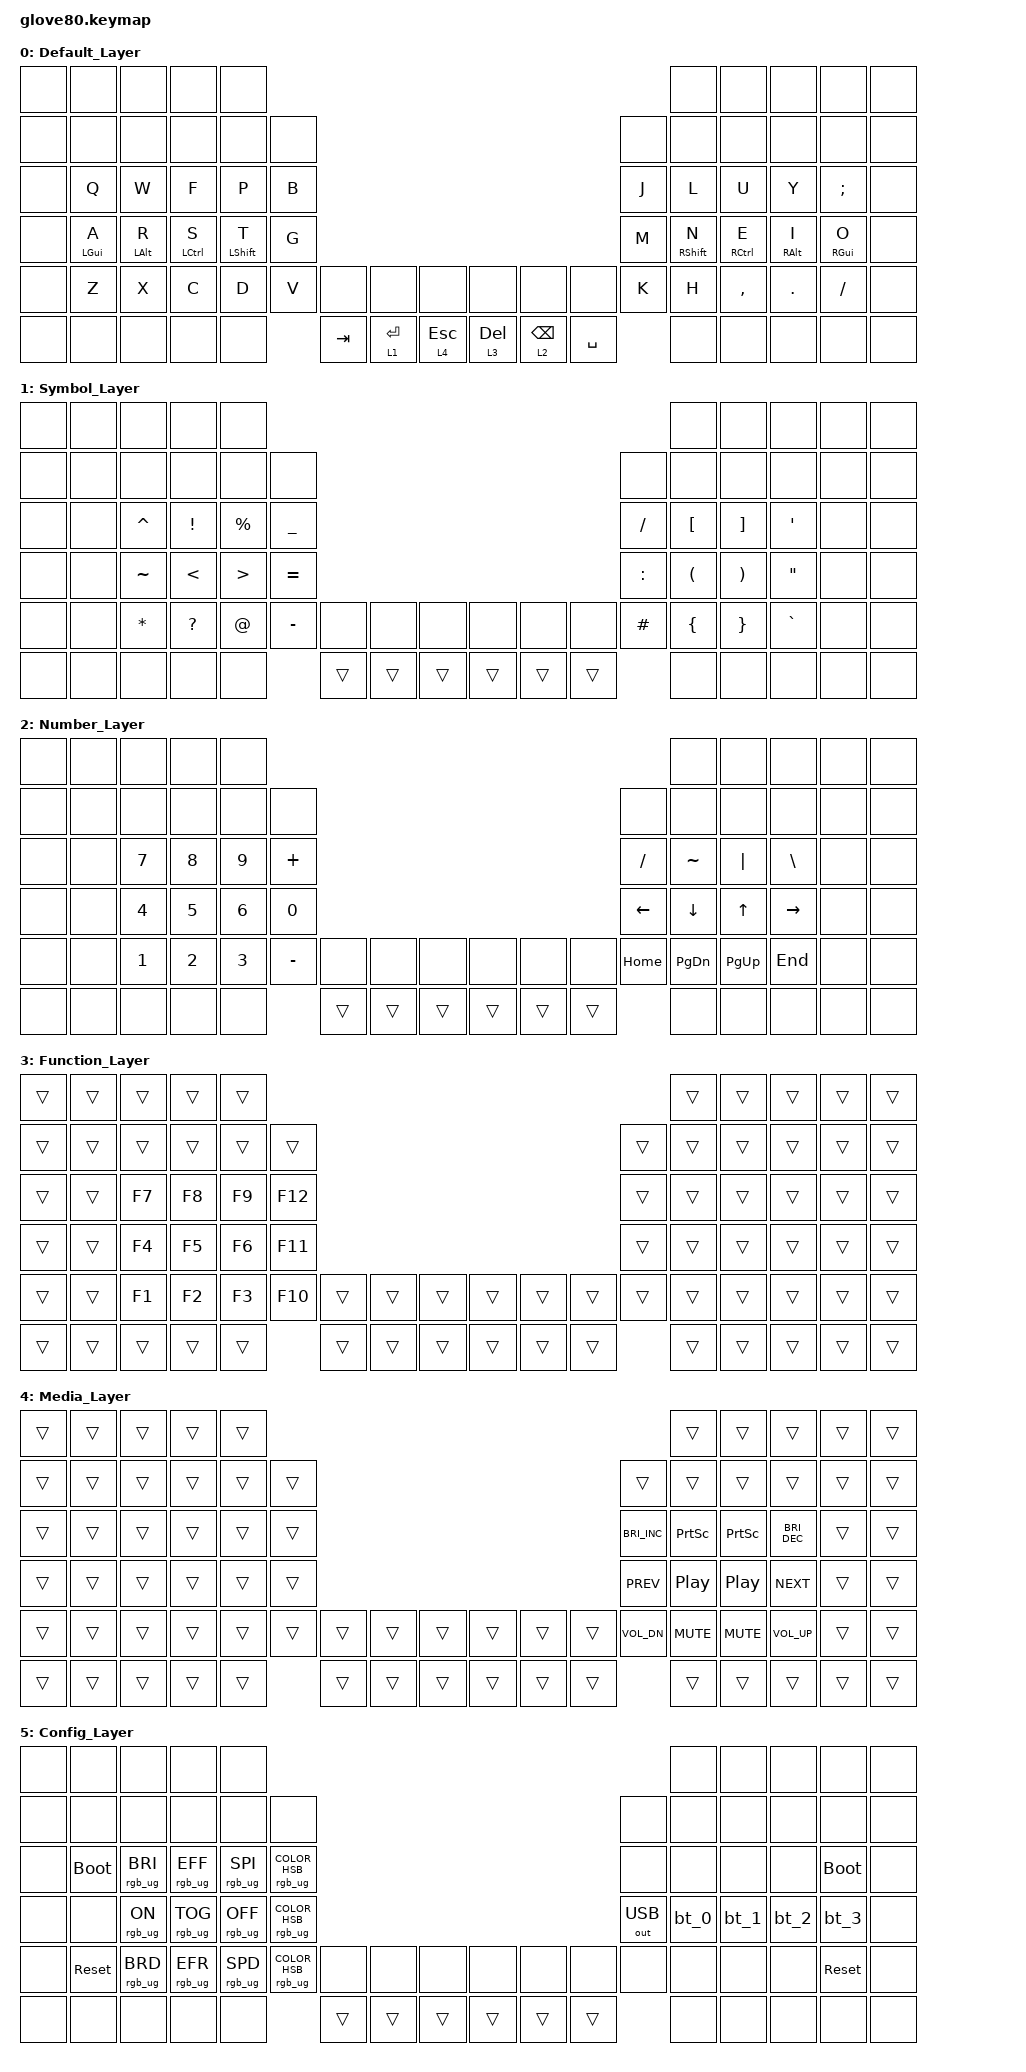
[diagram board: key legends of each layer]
/*
 * Copyright (c) 2020 The ZMK Contributors
 *
 * SPDX-License-Identifier: MIT
 */

#include <behaviors.dtsi>
#include <dt-bindings/zmk/bt.h>
#include <dt-bindings/zmk/keys.h>
#include <dt-bindings/zmk/outputs.h>
#include <dt-bindings/zmk/rgb.h>

&lt {
    flavor = "balanced";
    tapping-term-ms = <200>;
    quick-tap-ms = <175>;
};

/ {
    behaviors {
        hml: homerow_mods_left {
            compatible = "zmk,behavior-hold-tap";
            label = "HOMEROW_MODS_LEFT";
            #binding-cells = <2>;
            bindings = <&kp>, <&kp>;

            flavor = "balanced";
            tapping-term-ms = <280>;
            quick-tap-ms = <175>;
            global-quick-tap;
            hold-trigger-key-positions = <28 29 30 31 40 41 42 43 58 59 60 61 32 44 62>;
            hold-trigger-on-release;
        };

        hmr: homerow_mods_right {
            compatible = "zmk,behavior-hold-tap";
            label = "HOMEROW_MODS_RIGHT";
            #binding-cells = <2>;
            bindings = <&kp>, <&kp>;

            flavor = "balanced";
            tapping-term-ms = <280>;
            quick_tap_ms = <175>;
            global-quick-tap;
            hold-trigger-key-positions = <23 35 36 37 38 39 47 48 49 50 51 24 25 26 27>;
            hold-trigger-on-release;
        };
    };

    conditional_layers {
        compatible = "zmk,conditional-layers";

        tri_layer {
            if-layers = <3 4>;
            then-layer = <5>;
        };
    };

    macros {
        bt_0: bt_profile_macro_0 {
            compatible = "zmk,behavior-macro";
            #binding-cells = <0>;
            bindings = <&out OUT_BLE &bt BT_SEL 0>;
        };

        bt_1: bt_profile_macro_1 {
            compatible = "zmk,behavior-macro";
            #binding-cells = <0>;
            bindings = <&out OUT_BLE &bt BT_SEL 1>;
        };

        bt_2: bt_profile_macro_2 {
            compatible = "zmk,behavior-macro";
            #binding-cells = <0>;
            bindings = <&out OUT_BLE &bt BT_SEL 2>;
        };

        bt_3: bt_profile_macro_3 {
            compatible = "zmk,behavior-macro";
            #binding-cells = <0>;
            bindings = <&out OUT_BLE &bt BT_SEL 3>;
        };
    };

    keymap {
        compatible = "zmk,keymap";

        Default_Layer {
            bindings = <
&none  &none            &none            &none         &none                                                                                           &none          &none         &none             &none          &none
&none  &none            &none            &none         &none          &none                                                                     &none  &none          &none         &none             &none          &none
&none  &kp Q            &kp W            &kp F         &kp P          &kp B                                                                     &kp J  &kp L          &kp U         &kp Y             &kp SEMICOLON  &none
&none  &hml LEFT_GUI A  &hml LEFT_ALT R  &hml LCTRL S  &hml LSHIFT T  &kp G                                                                     &kp M  &hmr RSHIFT N  &hmr RCTRL E  &hmr RIGHT_ALT I  &hmr RGUI O    &none
&none  &kp Z            &kp X            &kp C         &kp D          &kp V  &none    &none      &none        &none      &none       &none      &kp K  &kp H          &kp COMMA     &kp DOT           &kp SLASH      &none
&none  &none            &none            &none         &none                 &kp TAB  &lt 1 RET  &lt 4 ESC    &lt 3 DEL  &lt 2 BSPC  &kp SPACE         &none          &none         &none             &none          &none
            >;
        };

        Symbol_Layer {
            bindings = <
&none  &none  &none         &none            &none                                                                                          &none                 &none                  &none              &none  &none
&none  &none  &none         &none            &none             &none                                                             &none      &none                 &none                  &none              &none  &none
&none  &none  &kp CARET     &kp EXCLAMATION  &kp PERCENT       &kp UNDERSCORE                                                    &kp SLASH  &kp LEFT_BRACKET      &kp RIGHT_BRACKET      &kp SQT            &none  &none
&none  &none  &kp TILDE     &kp LESS_THAN    &kp GREATER_THAN  &kp EQUAL                                                         &kp COLON  &kp LEFT_PARENTHESIS  &kp RIGHT_PARENTHESIS  &kp DOUBLE_QUOTES  &none  &none
&none  &none  &kp ASTERISK  &kp QUESTION     &kp AT_SIGN       &kp MINUS       &none   &none   &none     &none   &none   &none   &kp HASH   &kp LEFT_BRACE        &kp RIGHT_BRACE        &kp GRAVE          &none  &none
&none  &none  &none         &none            &none                             &trans  &trans  &trans    &trans  &trans  &trans             &none                 &none                  &none              &none  &none
            >;
        };

        Number_Layer {
            bindings = <
&none  &none  &none         &none   &none                                                                           &none      &none      &none          &none  &none
&none  &none  &none         &none   &none   &none                                                        &none      &none      &none      &none          &none  &none
&none  &none  &kp N7        &kp N8  &kp N9  &kp PLUS                                                     &kp SLASH  &kp TILDE  &kp PIPE   &kp BACKSLASH  &none  &none
&none  &none  &kp NUMBER_4  &kp N5  &kp N6  &kp N0                                                       &kp LEFT   &kp DOWN   &kp UP     &kp RIGHT      &none  &none
&none  &none  &kp N1        &kp N2  &kp N3  &kp MINUS  &none   &none   &none     &none   &none   &none   &kp HOME   &kp PG_DN  &kp PG_UP  &kp END        &none  &none
&none  &none  &none         &none   &none              &trans  &trans  &trans    &trans  &trans  &trans             &none      &none      &none          &none  &none
            >;
        };

        Function_Layer {
            bindings = <
&trans  &trans  &trans  &trans  &trans                                                                     &trans  &trans  &trans  &trans  &trans
&trans  &trans  &trans  &trans  &trans  &trans                                                     &trans  &trans  &trans  &trans  &trans  &trans
&trans  &trans  &kp F7  &kp F8  &kp F9  &kp F12                                                    &trans  &trans  &trans  &trans  &trans  &trans
&trans  &trans  &kp F4  &kp F5  &kp F6  &kp F11                                                    &trans  &trans  &trans  &trans  &trans  &trans
&trans  &trans  &kp F1  &kp F2  &kp F3  &kp F10  &trans  &trans  &trans    &trans  &trans  &trans  &trans  &trans  &trans  &trans  &trans  &trans
&trans  &trans  &trans  &trans  &trans           &trans  &trans  &trans    &trans  &trans  &trans          &trans  &trans  &trans  &trans  &trans
            >;
        };

        Media_Layer {
            bindings = <
&trans  &trans  &trans  &trans  &trans                                                                                  &trans            &trans           &trans         &trans  &trans
&trans  &trans  &trans  &trans  &trans  &trans                                                    &trans                &trans            &trans           &trans         &trans  &trans
&trans  &trans  &trans  &trans  &trans  &trans                                                    &kp C_BRIGHTNESS_INC  &kp PRINTSCREEN   &kp PRINTSCREEN  &kp C_BRI_DEC  &trans  &trans
&trans  &trans  &trans  &trans  &trans  &trans                                                    &kp C_PREV            &kp C_PLAY_PAUSE  &kp C_PP         &kp C_NEXT     &trans  &trans
&trans  &trans  &trans  &trans  &trans  &trans  &trans  &trans  &trans    &trans  &trans  &trans  &kp C_VOL_DN          &kp C_MUTE        &kp C_MUTE       &kp C_VOL_UP   &trans  &trans
&trans  &trans  &trans  &trans  &trans          &trans  &trans  &trans    &trans  &trans  &trans                        &trans            &trans           &trans         &trans  &trans
            >;
        };

        Config_Layer {
            bindings = <
&none  &none        &none            &none            &none                                                                                                             &none  &none  &none  &none        &none
&none  &none        &none            &none            &none            &none                                                                              &none         &none  &none  &none  &none        &none
&none  &bootloader  &rgb_ug RGB_BRI  &rgb_ug RGB_EFF  &rgb_ug RGB_SPI  &rgb_ug RGB_COLOR_HSB(0,0,100)                                                     &none         &none  &none  &none  &bootloader  &none
&none  &none        &rgb_ug RGB_ON   &rgb_ug RGB_TOG  &rgb_ug RGB_OFF  &rgb_ug RGB_COLOR_HSB(31,97,50)                                                    &out OUT_USB  &bt_0  &bt_1  &bt_2  &bt_3        &none
&none  &sys_reset   &rgb_ug RGB_BRD  &rgb_ug RGB_EFR  &rgb_ug RGB_SPD  &rgb_ug RGB_COLOR_HSB(0,100,50)  &none   &none   &none     &none   &none   &none   &none         &none  &none  &none  &sys_reset   &none
&none  &none        &none            &none            &none                                             &trans  &trans  &trans    &trans  &trans  &trans                &none  &none  &none  &none        &none
            >;
        };
    };
};
